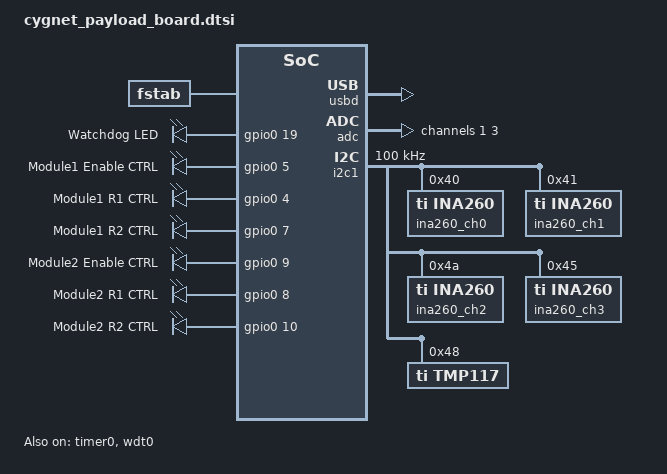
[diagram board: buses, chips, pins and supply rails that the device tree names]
#include <freq.h>

#include <zephyr/dt-bindings/i2c/i2c.h>
#include <zephyr/dt-bindings/pwm/pwm.h>

#include "cygnet_payload_board-pinctrl.dtsi"

/ {
	chosen {
		zephyr,sram = &sram0;
		zephyr,flash = &flash0;
		zephyr,console = &cdc_acm_uart0;
		zephyr,shell-uart = &cdc_acm_uart0;
	};

	fstab {
                compatible = "zephyr,fstab";
                ffs1: ffs1 {
                        compatible = "zephyr,fstab,fatfs";
                        automount;
                        disk-access;
                        mount-point = "/";
                };
        };


	aliases {
		watchdog0 = &wdt0;
	};

	leds {
		compatible = "gpio-leds";
		led0: led0 {
			gpios = <&gpio0 19 GPIO_ACTIVE_HIGH>;
			label = "Watchdog LED";
		};	
	};
};

zephyr_udc0: &usbd {
	status = "okay";
};

&zephyr_udc0  {
	cdc_acm_uart0: cdc_acm_uart0 {
		compatible = "zephyr,cdc-acm-uart";
		label = "CDC_ACM_0";
	};
};

&flash0 {
       reg = <0x10000000 DT_SIZE_M(4)>;
};

&timer0 {
	status = "okay";
};

&wdt0 {
	status = "okay";
};

&gpio0 {
	status = "okay";
};

&adc {
    status = "okay";
    #address-cells = <1>;
    #size-cells = <0>;
    
    channel@1 {
        reg = <1>;
        zephyr,gain = "ADC_GAIN_1";
        zephyr,reference = "ADC_REF_INTERNAL";
        zephyr,acquisition-time = <ADC_ACQ_TIME_DEFAULT>;
        zephyr,resolution = <12>;
    };
    
    channel@3 {
        reg = <3>;
        zephyr,gain = "ADC_GAIN_1";
        zephyr,reference = "ADC_REF_INTERNAL";
        zephyr,acquisition-time = <ADC_ACQ_TIME_DEFAULT>;
        zephyr,resolution = <12>;
    };
};

/*&spi0 {
	status = "okay";
	cs-gpios = <&gpio0 15 GPIO_ACTIVE_LOW>;
	pinctrl-0 = <&spi0_default>;
	pinctrl-names = "default";
	sdhc0: sdhc@0 {
                compatible = "zephyr,sdhc-spi-slot";
                reg = <0>;
                status = "okay";
                mmc {
                    compatible = "zephyr,sdmmc-disk";
                    disk-name = "SD";
                    status = "okay";
                };
                spi-max-frequency = <24000000>;
        };
};

&spi1 {
	status = "okay";
	cs-gpios = <&gpio0 9 GPIO_ACTIVE_LOW>;
	pinctrl-0 = <&spi1_default>;
	pinctrl-names = "default";

	lora0: sx1276@0 {
		compatible = "semtech,sx1276";
		reg = <0>;
		spi-max-frequency = <125000>;
		dio-gpios =  <&gpio0 14 (GPIO_PULL_DOWN | GPIO_ACTIVE_HIGH)>,<&gpio0 13 (GPIO_PULL_DOWN | GPIO_ACTIVE_HIGH)>;
		reset-gpios = <&gpio0 6 GPIO_ACTIVE_LOW>;
		power-amplifier-output = "pa-boost";
		label = "HOPE_RF";
	};
};*/

/*&i2c0 {
	status = "okay";
	pinctrl-0 = <&i2c0_default>;
	pinctrl-names = "default";
	clock-frequency = <100000>;

	ina219_0: ina219_0@40 {
		compatible = "ti,ina219";
		reg = <0x40>;
		brng = <0>;
		pg = <0>;
		badc = <12>;
		sadc = <12>;
		shunt-milliohm = <2>;
		lsb-microamp = <61>;
		label = "INA219 sys";
	};

	ina219_1: ina219_1@41 {
		compatible = "ti,ina219";
		reg = <0x41>;
		brng = <0>;
		pg = <0>;
		badc = <12>;
		sadc = <12>;
		shunt-milliohm = <2>;
		lsb-microamp = <61>;
		label = "INA219 sol";
	};
};*/


/* &i2c1 {
	status = "okay";
	pinctrl-0 = <&i2c1_default>;
	pinctrl-names = "default";
	clock-frequency = <100000>;

	lsm6dso0: lsm6dso0@6b {
		compatible = "st,lsm6dso";
		reg = <0x6b>;
		label = "LSM6DSO";
	};

	lis2mdl0: lis2mdl0@1e {
		compatible = "st,lis2mdl";
		reg = <0x1e>;
		label = "LIS2MDL";
	};

	rtc0: rtc0@52 {
		compatible = "microcrystal,rv3028";
		reg = <0x52>;
		int-gpios = <&gpio0 27 GPIO_ACTIVE_HIGH>;
		backup-switch-mode = "direct";
		label = "RV3028";
	};
	ina219: ina219@40 {
		compatible = "ti,ina219";
		reg = <0x40>;
		shunt-milliohm = <2>;
		lsb-microamp = <100>;
		label = "INA219";
	};
	mcp23017: mcp23017@20 {
		compatible = "microchip,mcp23017";
		reg = <0x20>;
		gpio-controller;
		#gpio-cells = <2>;

		 gpio-line-names must match the numeric indexes used below. The
		 * topology and gpio nodes expect the following mapping (index : name):
		 *  0: ENABLE_HEATER (GPA0)
		 *  1: PAYLOAD_PWR_ENABLE (GPA1)
		 *  2: FIRE_DEPLOY2_B (GPA2)
		 *  3: PAYLOAD_BATT_ENABLE (GPA3)
		 *  4: RF2_IO2 (GPA4)
		 *  5: RF2_IO1 (GPA5)
		 *  6: RF2_IO0 (GPA6)
		 *  7: RF2_IO3 (GPA7)
		 *  8: FACE4_ENABLE (GPB0)
		 *  9: FACE0_ENABLE (GPB1)
		 * 10: FACE1_ENABLE (GPB2)
		 * 11: FACE2_ENABLE (GPB3)
		 * 12: FACE3_ENABLE (GPB4)
		 * 13: FACE5_ENABLE (GPB5)
		 * 14: READONLY (GPB6)
		 * 15: CHARGE (GPB7)
		 
		gpio-line-names = "ENABLE_HEATER", "PAYLOAD_PWR_ENABLE", "FIRE_DEPLOY2_B", "PAYLOAD_BATT_ENABLE",
						  "RF2_IO2", "RF2_IO1", "RF2_IO0", "RF2_IO3",
						  "FACE4_ENABLE", "FACE0_ENABLE", "FACE1_ENABLE", "FACE2_ENABLE",
						  "FACE3_ENABLE", "FACE5_ENABLE", "READONLY", "CHARGE";

		reset-gpios = <&gpio0 20 GPIO_ACTIVE_LOW>;

		ngpios = <16>;
	};
};*/

&i2c1 {
	status = "okay";
	pinctrl-0 = <&i2c1_default>;
	pinctrl-names = "default";
	clock-frequency = <100000>;

	ina260_ch0: ina260@40 { //3.3V monitor
		compatible = "ti,ina260";
		reg = <0x40>;
	};
	ina260_ch1: ina260@41 { //12V monitor
		compatible = "ti,ina260";
		reg = <0x41>;
	};
	ina260_ch2: ina260@4A { //GPS monitor
		compatible = "ti,ina260";
		reg = <0x4A>;
	};
	ina260_ch3: ina260@45 { //7V monitor
		compatible = "ti,ina260";
		reg = <0x45>;
	};
	tmp117: tmp117@48 {
		compatible = "ti,tmp117";
		reg = <0x48>;
	};

};

// GPIO Expander IO
/ {

    // Define the GPIO outputs based on your schematic
    gpio_outputs {
        compatible = "gpio-leds";  // Using gpio-leds as a convenient container
    };

    // Define GPIO inputs
    gpio_inputs {
      compatible = "gpio-keys"; 
    };
	
    radfet_gpio {
        compatible = "gpio-leds";
        
        module1_enable: module1-enable {
            gpios = <&gpio0 5 GPIO_ACTIVE_HIGH>;
            label = "Module1 Enable CTRL";
        };
        
        module1_r1: module1-r1 {
            gpios = <&gpio0 4 GPIO_ACTIVE_HIGH>;
            label = "Module1 R1 CTRL";
        };
        
        module1_r2: module1-r2 {
            gpios = <&gpio0 7 GPIO_ACTIVE_HIGH>;
            label = "Module1 R2 CTRL";
        };
        
        module2_enable: module2-enable {
            gpios = <&gpio0 9 GPIO_ACTIVE_HIGH>;
            label = "Module2 Enable CTRL";
        };
        
        module2_r1: module2-r1 {
            gpios = <&gpio0 8 GPIO_ACTIVE_HIGH>;
            label = "Module2 R1 CTRL";
        };
        
        module2_r2: module2-r2 {
            gpios = <&gpio0 10 GPIO_ACTIVE_HIGH>;
            label = "Module2 R2 CTRL";
        };
    };
};

